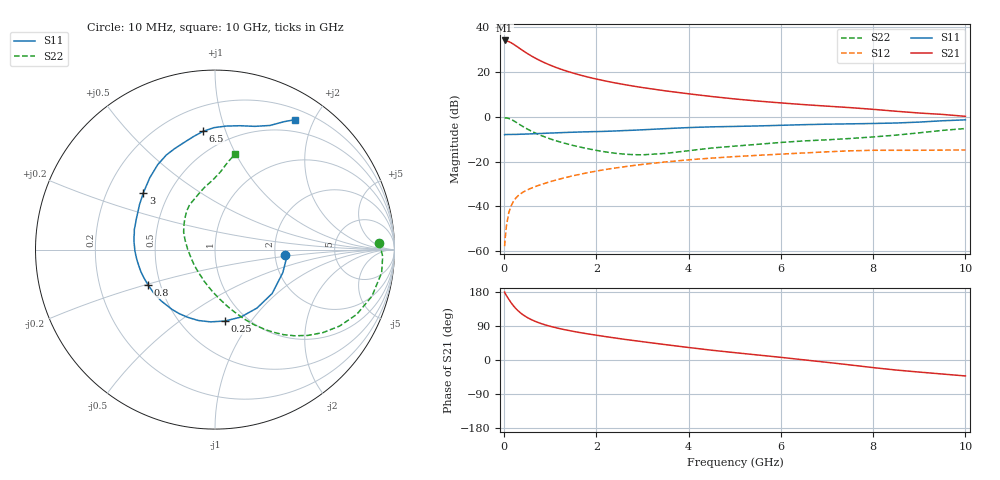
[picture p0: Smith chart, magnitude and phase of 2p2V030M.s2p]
! (c) 2009  Infineon Technologies AG, Munich
! Infineon Technologies  Discrete & RF Semiconductors
! BFP420
! VCE =  2.0 V,  IC =  30 mA
! Common Emitter S-Parameters:  Nov 2009
# GHz  S  MA  R  50
!  f  S11  S21  S12  S22
! GHz  MAG  ANG  MAG  ANG  MAG  ANG  MAG  ANG
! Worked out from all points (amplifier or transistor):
!   46 points, 10 MHz to 10 GHz, reference 50 ohm
!   highest |S21| = 33.9 dB at 10 MHz (marker M1)
!   |S21| within 3 dB of that: start of sweep to 298.9 MHz
!   unconditionally stable (mu >= 1): 1.505 GHz to end of sweep
!   at 300 MHz: K = 0.40, MSG = 33.1 dB, |S12| = -35.3 dB
!   at 1.7 GHz: K = 1.04, MAG = 20.7 dB, |S12| = -25.4 dB
!   at 10 GHz: K = 1.06, MAG = 6.0 dB, |S12| = -14.8 dB
!   lowest NFmin = 1.51 dB at 900 MHz
!   S11 on the Smith chart (normalised r, x): 10 MHz: 2.28, -0.16; 250 MHz: 0.80, -0.76; 800 MHz: 0.43, -0.21; 3 GHz: 0.36, +0.31; 6.5 GHz: 0.36, +0.84; 10 GHz: 0.34, +1.74
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0.01  0.3934 -4.3  49.82 179.4  0.0013 110.1  0.9156 2.4
0.02  0.4004 -7.8  48.8 176.1  0.0018 94.4  0.9351 -2.3
0.05  0.399 -18.8  48.38 170.0  0.0037 85.7  0.9373 -7.9
0.1  0.4015 -37.5  46.94 160.3  0.0072 78.7  0.912 -16.6
0.15  0.401 -54.3  44.32 151.3  0.0102 73.5  0.868 -24.6
0.2  0.4025 -69.2  41.34 143.3  0.0129 69.7  0.8146 -31.5
0.25  0.4017 -82.3  38.12 136.2  0.0152 66.3  0.7594 -37.5
0.35  0.4058 -103.2  32.43 124.8  0.0189 61.7  0.6546 -47.2
0.4  0.4065 -111.6  29.92 120.0  0.0205 60.2  0.6091 -51.1
0.5  0.4105 -125.5  25.62 112.2  0.0233 58.4  0.5312 -57.5
0.6  0.4143 -136.3  22.21 105.8  0.0258 57.6  0.4696 -62.7
0.8  0.4216 -152.1  17.28 96.2  0.0307 57.1  0.3803 -70.9
1.2  0.4386 -172.3  11.69 82.9  0.0406 56.7  0.2748 -85.0
1.7  0.4567 171.3  8.178 71.3  0.0534 54.9  0.2043 -101.9
2.2  0.4708 158.5  6.22 61.7  0.0664 51.7  0.1635 -120.6
3  0.5095 141.6  4.445 48.3  0.0863 45.0  0.141 -157.9
3.5  0.5403 132.3  3.75 40.5  0.0979 40.3  0.1518 179.8
5.5  0.6202 106.4  2.224 13.2  0.1374 21.5  0.2419 133.9
6.5  0.6626 95.7  1.853 0.4  0.1552 12.1  0.2879 119.4
7  0.6794 90.5  1.713 -6.2  0.1645 7.2  0.3043 112.1
8.5  0.7216 72.1  1.318 -26.5  0.1781 -10.1  0.3874 91.9
10  0.8485 58.5  1.016 -42.1  0.1812 -21.3  0.5433 78.1
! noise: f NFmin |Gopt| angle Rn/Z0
0.9  1.51  0.26  -155  0.13
1.8  1.78  0.33  -142  0.14
2.4  1.96  0.3  -136  0.18
3  1.98  0.38  -127  0.2
4  2.11  0.47  -111  0.31
5  2.57  0.53  -94  0.51
6  3  0.57  -82  0.74
